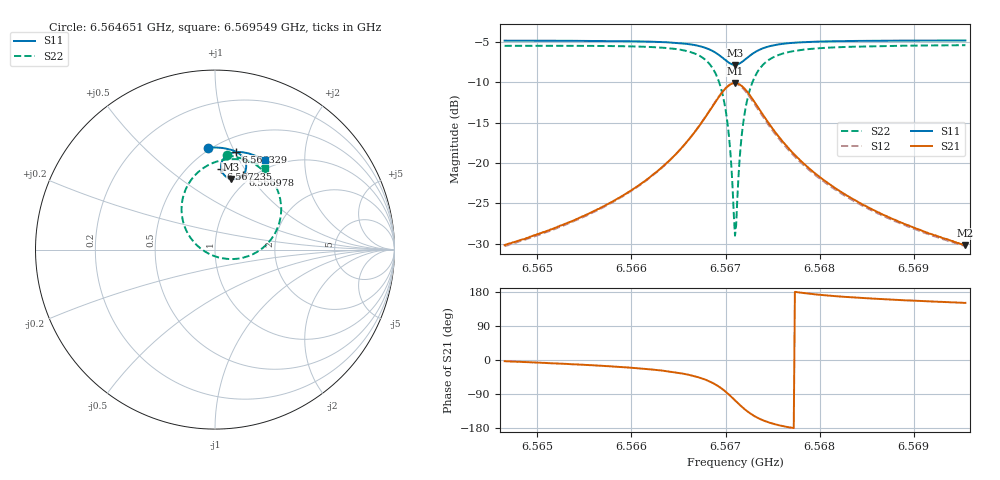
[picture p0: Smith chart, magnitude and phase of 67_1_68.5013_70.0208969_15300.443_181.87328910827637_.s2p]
#  HZ  S  RI  R  50.00
! Rohde & Schwarz Vector Network Analyzer
! Rohde-Schwarz,ZNB20-2Port,1311601062101988,3.16
! Created: UTC 3/20/2024, 4:51:34 PM
! freq[Hz]  re:S11  im:S11  re:S21  im:S21  re:S12  im:S12  re:S22  im:S22
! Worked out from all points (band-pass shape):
!   401 points, 6.564651 GHz to 6.569549 GHz, reference 50 ohm
!   highest |S21| = -10.13 dB at 6.5671 GHz (marker M1); lowest = -30.1 dB at 6.569549 GHz (marker M2)
!   |S21| within 3 dB of the highest: 6.566854 GHz to 6.567345 GHz (490.6 kHz wide, 0.00747 % of centre)
!   lowest |S11| = -7.9 dB at 6.5671 GHz (marker M3), VSWR 2.35, Z = 42.4 + j39.9 ohm
!   |S11| at or under -10 dB: nowhere
!   |S22| runs from -29.0 to -5.4 dB; largest |S21 - S12| = 0.016
!   S11 on the Smith chart (normalised r, x): 6.564651 GHz: 0.48, +0.81; 6.566329 GHz: 0.64, +1.01; 6.566978 GHz: 0.91, +0.93; 6.567235 GHz: 0.71, +0.79; 6.569549 GHz: 0.88, +1.30
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6.5646512e9  -0.0387 0.5681  0.0311 -0.00172  0.0306 -0.00226  0.0643 0.5252
6.5654717e9  0.0299 0.5672  0.0456 -0.01  0.0447 -0.0106  0.147 0.5082
6.5662921e9  0.1108 0.5481  0.0809 -0.0412  0.0796 -0.0423  0.2679 0.4422
6.5663288e9  0.1152 0.5462  0.0836 -0.0446  0.0823 -0.0455  0.2754 0.4356
6.5665982e9  0.149 0.5222  0.1072 -0.0855  0.1056 -0.0874  0.3373 0.355
6.5667819e9  0.1705 0.4859  0.1186 -0.1496  0.1155 -0.1528  0.3688 0.2317
6.5668921e9  0.1721 0.4486  0.1025 -0.2148  0.0964 -0.2193  0.3423 0.1066
6.5669778e9  0.1538 0.414  0.0534 -0.2742  0.0427 -0.2773  0.2501 -0.00267
6.5670268e9  0.1318 0.3984  0.0042 -0.2989  -0.00921 -0.2991  0.1582 -0.0447
6.5670513e9  0.1178 0.3938  -0.0255 -0.3048  -0.0396 -0.3028  0.1037 -0.0527
6.567088e9  0.095 0.3927  -0.0725 -0.3027  -0.0869 -0.2971  0.0192 -0.0434
6.5671002e9  0.0875 0.3941  -0.0881 -0.299  -0.1021 -0.292  -0.0081 -0.0346
6.5671125e9  0.08 0.3964  -0.1032 -0.2938  -0.1168 -0.2854  -0.0343 -0.023
6.5671247e9  0.0729 0.3992  -0.1176 -0.2869  -0.1304 -0.2774  -0.0589 -0.00888
6.5671492e9  0.0601 0.4073  -0.1438 -0.2697  -0.1548 -0.2582  -0.1024 0.0255
6.5671737e9  0.0496 0.4175  -0.1653 -0.2485  -0.1741 -0.2358  -0.1367 0.0659
6.5672349e9  0.035 0.4474  -0.197 -0.189  -0.2003 -0.1757  -0.1818 0.1747
6.5673329e9  0.0385 0.4895  -0.1989 -0.1077  -0.1969 -0.0973  -0.1703 0.3171
6.5674798e9  0.0654 0.5244  -0.1644 -0.04  -0.1607 -0.0343  -0.0953 0.4302
6.5679206e9  0.1357 0.5438  -0.0888 0.00924  -0.0867 0.0107  0.0689 0.5027
6.5687411e9  0.2167 0.5263  -0.0432 0.016  -0.0421 0.0164  0.2017 0.4882
6.5695492e9  0.2785 0.4986  -0.0272 0.0151  -0.0265 0.0154  0.2783 0.4558
